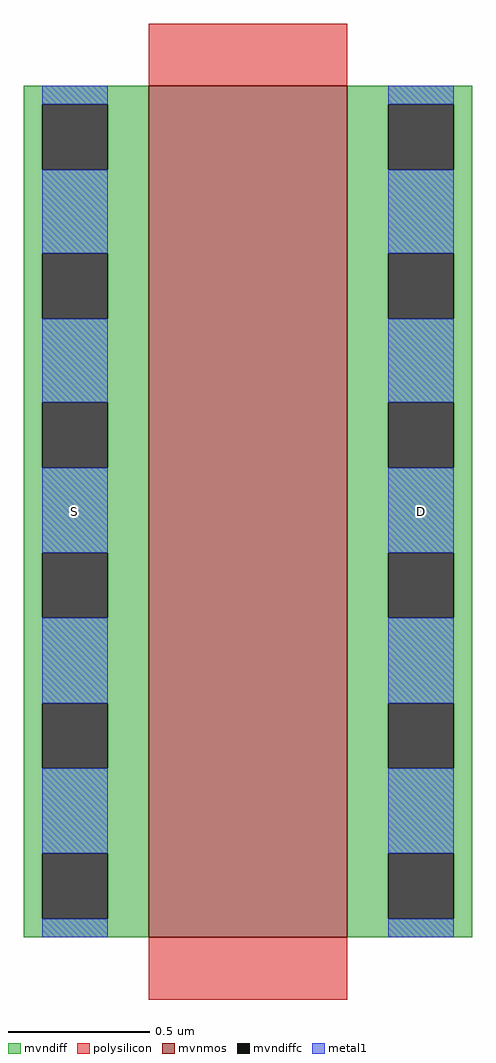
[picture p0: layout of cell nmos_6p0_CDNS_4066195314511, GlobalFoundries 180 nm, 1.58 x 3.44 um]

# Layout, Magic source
magic
tech gf180mcuD
magscale 1 10
<< mvnmos >>
rect 0 0 140 600
<< mvndiff >>
rect -88 587 0 600
rect -88 541 -75 587
rect -29 541 0 587
rect -88 482 0 541
rect -88 436 -75 482
rect -29 436 0 482
rect -88 377 0 436
rect -88 331 -75 377
rect -29 331 0 377
rect -88 271 0 331
rect -88 225 -75 271
rect -29 225 0 271
rect -88 165 0 225
rect -88 119 -75 165
rect -29 119 0 165
rect -88 59 0 119
rect -88 13 -75 59
rect -29 13 0 59
rect -88 0 0 13
rect 140 587 228 600
rect 140 541 169 587
rect 215 541 228 587
rect 140 482 228 541
rect 140 436 169 482
rect 215 436 228 482
rect 140 377 228 436
rect 140 331 169 377
rect 215 331 228 377
rect 140 271 228 331
rect 140 225 169 271
rect 215 225 228 271
rect 140 165 228 225
rect 140 119 169 165
rect 215 119 228 165
rect 140 59 228 119
rect 140 13 169 59
rect 215 13 228 59
rect 140 0 228 13
<< mvndiffc >>
rect -75 541 -29 587
rect -75 436 -29 482
rect -75 331 -29 377
rect -75 225 -29 271
rect -75 119 -29 165
rect -75 13 -29 59
rect 169 541 215 587
rect 169 436 215 482
rect 169 331 215 377
rect 169 225 215 271
rect 169 119 215 165
rect 169 13 215 59
<< polysilicon >>
rect 0 600 140 644
rect 0 -44 140 0
<< metal1 >>
rect -75 587 -29 600
rect -75 482 -29 541
rect -75 377 -29 436
rect -75 271 -29 331
rect -75 165 -29 225
rect -75 59 -29 119
rect -75 0 -29 13
rect 169 587 215 600
rect 169 482 215 541
rect 169 377 215 436
rect 169 271 215 331
rect 169 165 215 225
rect 169 59 215 119
rect 169 0 215 13
<< labels >>
rlabel metal1 192 300 192 300 4 D
rlabel metal1 -52 300 -52 300 4 S
<< end >>
